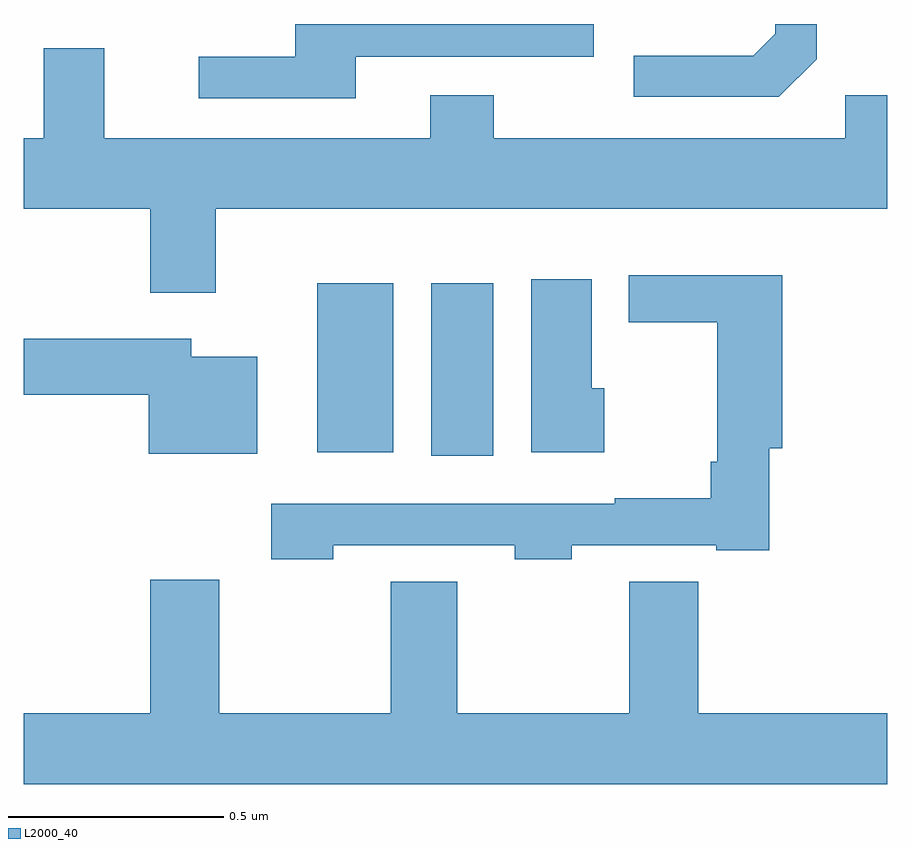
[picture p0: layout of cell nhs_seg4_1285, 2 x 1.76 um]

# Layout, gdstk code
import gdstk
lib = gdstk.Library(unit=1e-6, precision=1e-09)
def R(c, l, rs):  # rectangles x0, y0, x1, y1
    for r in rs: c.add(gdstk.rectangle(r[:2], r[2:], *l))
def P(c, l, *ps):  # polygons
    for p in ps: c.add(gdstk.Polygon(p, *l))
L2000_40 = (2000, 40)

nhs_seg4_1285 = lib.new_cell('nhs_seg4_1285')
R(nhs_seg4_1285, L2000_40, [(126.944,810.9,127.087,811.3), (126.68,810.908,126.856,811.3)])
P(nhs_seg4_1285, L2000_40, [(126.769,811.824),(127.32,811.824),(127.32,811.9),(126.629,811.9),(126.629,811.824),(126.405,811.824),(126.405,811.728),(126.769,811.728)],
  [(127.836,811.818),(127.836,811.9),(127.74,811.9),(127.74,811.878),(127.689,811.827),(127.413,811.827),(127.413,811.731),(127.749,811.731)],
  [(126.445,811.472),(128,811.472),(128,811.735),(127.902,811.735),(127.902,811.636),(127.089,811.636),(127.089,811.735),(126.941,811.735),(126.941,811.636),(126.187,811.636),(126.187,811.844),(126.047,811.844),(126.047,811.636),(126,811.636),(126,811.472),(126.293,811.472),(126.293,811.278),(126.445,811.278)],
  [(126.717,810.693),(127.137,810.693),(127.137,810.661),(127.269,810.661),(127.269,810.693),(127.604,810.693),(127.604,810.681),(127.727,810.681),(127.727,810.917),(127.757,810.917),(127.757,811.318),(127.401,811.318),(127.401,811.209),(127.606,811.209),(127.606,810.886),(127.591,810.886),(127.591,810.802),(127.369,810.802),(127.369,810.789),(126.573,810.789),(126.573,810.661),(126.717,810.661)],
  [(127.345,811.056),(127.315,811.056),(127.315,811.309),(127.175,811.309),(127.175,810.908),(127.345,810.908)],
  [(126.541,811.129),(126.388,811.129),(126.388,811.171),(126,811.171),(126,811.042),(126.29,811.042),(126.29,810.905),(126.541,810.905)],
  [(128,810.304),(127.562,810.304),(127.562,810.608),(127.402,810.608),(127.402,810.304),(127.004,810.304),(127.004,810.608),(126.85,810.608),(126.85,810.304),(126.453,810.304),(126.453,810.613),(126.293,810.613),(126.293,810.304),(126,810.304),(126,810.14),(128,810.14)])

lib.write_gds('nhs_seg4_1285.gds')
